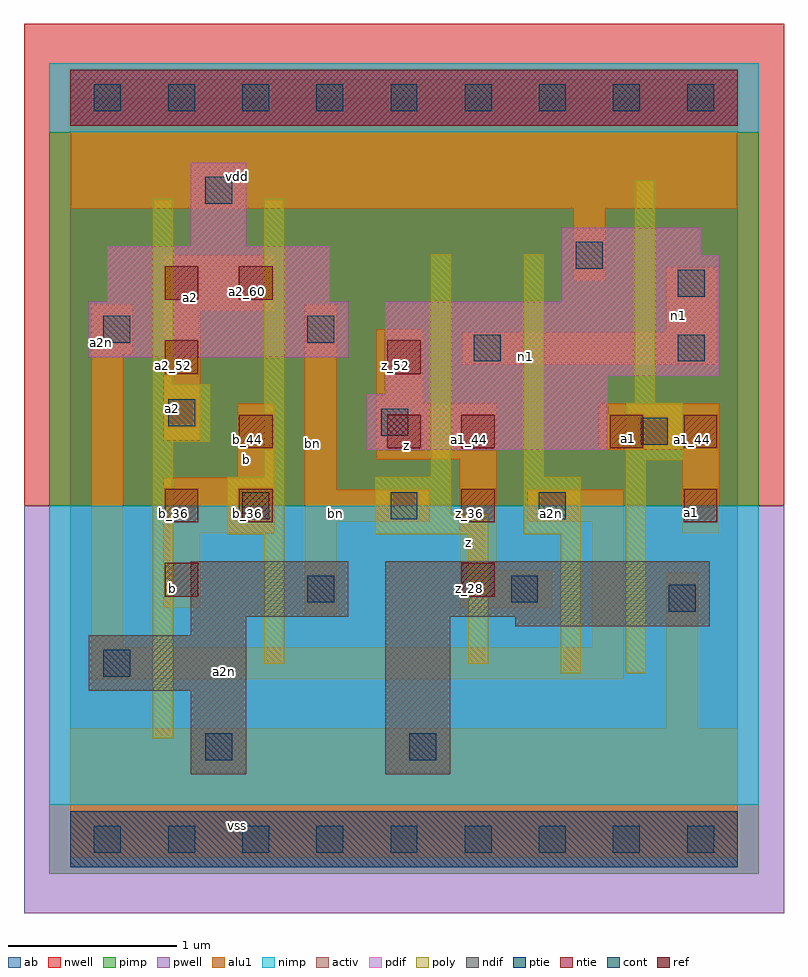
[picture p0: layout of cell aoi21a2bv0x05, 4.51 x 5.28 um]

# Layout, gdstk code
import gdstk
lib = gdstk.Library(unit=1e-6, precision=2.5e-09)
def R(c, l, rs):  # rectangles x0, y0, x1, y1
    for r in rs: c.add(gdstk.rectangle(r[:2], r[2:], *l))
def A(c, l, x, y, w, h, nx, ny, dx, dy):  # array of equal rectangles
    R(c, l, [(x+i*dx, y+j*dy, x+i*dx+w, y+j*dy+h) for i in range(nx) for j in range(ny)])
ndif = (3, 0)
pdif = (4, 0)
ntie = (5, 0)
ptie = (6, 0)
ref = (24, 0)
cont = (25, 0)
pwell = (41, 0)
nwell = (42, 0)
activ = (43, 0)
pimp = (44, 0)
nimp = (45, 0)
poly = (46, 0)
alu1 = (49, 0)
ab = (63, 0)

aoi21a2bv0x05 = lib.new_cell('aoi21a2bv0x05')
R(aoi21a2bv0x05, ndif, [(0.715,0.385,1.045,0.88), (1.87,0.385,2.255,1.32), (0.11,0.88,1.045,1.21), (0.715,1.21,1.045,1.32), (2.64,1.265,3.795,1.32), (0.715,1.32,1.65,1.65), (1.87,1.32,3.795,1.65)])
R(aoi21a2bv0x05, pdif, [(1.76,2.31,3.19,2.64), (1.87,2.64,3.19,2.75), (1.87,2.75,3.85,3.19), (0.11,2.86,1.65,3.19), (0.22,3.19,1.54,3.52), (2.915,3.19,3.85,3.465), (2.915,3.465,3.74,3.63), (0.715,3.52,1.045,4.015)])
R(aoi21a2bv0x05, ntie, [(0,4.235,3.96,4.565)])
R(aoi21a2bv0x05, ptie, [(0,-0.165,3.96,0.165)])
A(aoi21a2bv0x05, ref, 1, 1.88, 0.2, 0.2, 3, 1, 1.32, 0)
R(aoi21a2bv0x05, ref, [(0.56,1.44,0.76,1.64), (2.32,1.44,2.52,1.64), (0.56,1.88,0.76,2.08), (1,2.32,1.2,2.52), (1.88,2.32,2.08,2.52), (2.32,2.32,2.52,2.52), (3.2,2.32,3.4,2.52), (3.64,2.32,3.84,2.52), (0.56,2.76,0.76,2.96), (1.88,2.76,2.08,2.96), (0.56,3.2,0.76,3.4), (1,3.2,1.2,3.4)])
A(aoi21a2bv0x05, cont, 0.14, -0.08, 0.16, 0.16, 9, 2, 0.44, 4.4)
A(aoi21a2bv0x05, cont, 1.02, 1.9, 0.16, 0.16, 3, 1, 0.88, 0)
R(aoi21a2bv0x05, cont, [(0.8,0.47,0.96,0.63), (2.01,0.47,2.17,0.63), (0.195,0.965,0.355,1.125), (3.55,1.35,3.71,1.51), (1.405,1.405,1.565,1.565), (2.615,1.405,2.775,1.565), (3.385,2.34,3.545,2.5), (1.845,2.395,2.005,2.555), (0.58,2.45,0.74,2.61), (2.395,2.835,2.555,2.995), (3.605,2.835,3.765,2.995), (0.195,2.945,0.355,3.105), (1.405,2.945,1.565,3.105), (3.605,3.22,3.765,3.38), (3,3.385,3.16,3.545), (0.8,3.77,0.96,3.93)])
R(aoi21a2bv0x05, pwell, [(-0.275,-0.44,4.235,1.98)])
R(aoi21a2bv0x05, nwell, [(-0.275,1.98,4.235,4.84)])
R(aoi21a2bv0x05, activ, [(0,-0.165,3.96,0.165), (0.715,0.385,1.045,0.88), (1.87,0.385,2.255,1.32), (0.11,0.88,1.045,1.21), (0.715,1.21,1.045,1.32), (2.64,1.265,3.795,1.32), (0.715,1.32,1.65,1.65), (1.87,1.32,3.795,1.65), (1.76,2.31,3.19,2.64), (1.87,2.64,3.19,2.75), (1.87,2.75,3.85,3.19), (0.11,2.86,1.65,3.19), (0.22,3.19,1.54,3.52), (2.915,3.19,3.85,3.465), (2.915,3.465,3.74,3.63), (0.715,3.52,1.045,4.015), (0,4.235,3.96,4.565)])
R(aoi21a2bv0x05, pimp, [(-0.125,-0.205,4.085,0.205), (-0.125,1.98,4.085,4.195)])
R(aoi21a2bv0x05, nimp, [(-0.125,0.205,4.085,1.98), (-0.125,4.195,4.085,4.605)])
R(aoi21a2bv0x05, poly, [(0.49,0.6,0.61,2.36), (2.91,0.985,3.03,1.81), (3.295,0.985,3.415,2.25), (1.15,1.04,1.27,1.81), (2.36,1.04,2.48,1.81), (0.93,1.81,1.27,2.15), (1.81,1.81,2.48,1.93), (2.69,1.81,3.03,2.15), (1.81,1.93,2.26,2.15), (1.15,2.15,1.27,3.8), (2.14,2.15,2.26,3.47), (2.69,2.15,2.81,3.47), (3.295,2.25,3.635,2.59), (0.49,2.36,0.83,2.7), (3.35,2.59,3.47,3.91), (0.49,2.7,0.61,3.8)])
R(aoi21a2bv0x05, alu1, [(0,-0.11,3.96,0.66), (3.535,0.66,3.725,1.58), (0.125,0.95,3.285,1.14), (0.125,1.14,0.315,2.875), (3.095,1.14,3.285,1.885), (1.39,1.335,1.58,1.885), (0.55,1.375,0.77,1.815), (2.31,1.375,2.86,1.595), (2.31,1.595,2.53,2.255), (0.55,1.815,1.21,2.145), (3.63,1.815,3.85,2.31), (1.39,1.885,2.13,2.075), (2.71,1.885,3.285,2.075), (1.39,2.075,1.58,3.175), (0.99,2.145,1.21,2.585), (1.815,2.255,2.53,2.585), (3.135,2.31,3.85,2.585), (0.55,2.365,0.77,3.135), (1.815,2.585,2.09,3.025), (2.325,2.82,3.835,3.01), (0.125,2.875,0.37,3.175), (3.535,3.01,3.835,3.395), (0.55,3.135,1.21,3.465), (2.985,3.315,3.175,3.74), (0,3.74,3.96,4.51)])
R(aoi21a2bv0x05, ab, [(0,0,3.96,4.4)])
aoi21a2bv0x05.add(gdstk.Label('vss', (0.99,0.0825), layer=49, texttype=0))
aoi21a2bv0x05.add(gdstk.Label('a2n', (0.915,0.9975), layer=49, texttype=0))
aoi21a2bv0x05.add(gdstk.Label('a1', (3.685,1.9375), layer=49, texttype=0))
aoi21a2bv0x05.add(gdstk.Label('a2n', (2.8525,1.9325), layer=49, texttype=0))
aoi21a2bv0x05.add(gdstk.Label('z', (2.365,1.76), layer=49, texttype=0))
aoi21a2bv0x05.add(gdstk.Label('b', (0.605,1.485), layer=49, texttype=0))
aoi21a2bv0x05.add(gdstk.Label('bn', (1.575,1.9325), layer=49, texttype=0))
aoi21a2bv0x05.add(gdstk.Label('a1', (3.3125,2.3775), layer=49, texttype=0))
aoi21a2bv0x05.add(gdstk.Label('z', (1.9925,2.3375), layer=49, texttype=0))
aoi21a2bv0x05.add(gdstk.Label('n1', (2.7025,2.8675), layer=49, texttype=0))
aoi21a2bv0x05.add(gdstk.Label('n1', (3.61,3.105), layer=49, texttype=0))
aoi21a2bv0x05.add(gdstk.Label('bn', (1.4375,2.35), layer=49, texttype=0))
aoi21a2bv0x05.add(gdstk.Label('b', (1.045,2.255), layer=49, texttype=0))
aoi21a2bv0x05.add(gdstk.Label('a2', (0.605,2.5575), layer=49, texttype=0))
aoi21a2bv0x05.add(gdstk.Label('a2', (0.715,3.2175), layer=49, texttype=0))
aoi21a2bv0x05.add(gdstk.Label('a2n', (0.185,2.95), layer=49, texttype=0))
aoi21a2bv0x05.add(gdstk.Label('vdd', (0.99,3.9325), layer=49, texttype=0))
aoi21a2bv0x05.add(gdstk.Label('z_52', (1.93,2.81), layer=24, texttype=0))
aoi21a2bv0x05.add(gdstk.Label('b_36', (0.61,1.93), layer=24, texttype=0))
aoi21a2bv0x05.add(gdstk.Label('b_28', (0.61,1.49), layer=24, texttype=0))
aoi21a2bv0x05.add(gdstk.Label('a1_44', (3.25,2.37), layer=24, texttype=0))
aoi21a2bv0x05.add(gdstk.Label('a1_44', (3.69,2.37), layer=24, texttype=0))
aoi21a2bv0x05.add(gdstk.Label('a1_36', (3.69,1.93), layer=24, texttype=0))
aoi21a2bv0x05.add(gdstk.Label('a2_60', (1.05,3.25), layer=24, texttype=0))
aoi21a2bv0x05.add(gdstk.Label('a2_60', (0.61,3.25), layer=24, texttype=0))
aoi21a2bv0x05.add(gdstk.Label('a2_52', (0.61,2.81), layer=24, texttype=0))
aoi21a2bv0x05.add(gdstk.Label('b_36', (1.05,1.93), layer=24, texttype=0))
aoi21a2bv0x05.add(gdstk.Label('b_44', (1.05,2.37), layer=24, texttype=0))
aoi21a2bv0x05.add(gdstk.Label('z_28', (2.37,1.49), layer=24, texttype=0))
aoi21a2bv0x05.add(gdstk.Label('z_36', (2.37,1.93), layer=24, texttype=0))
aoi21a2bv0x05.add(gdstk.Label('z_44', (1.93,2.37), layer=24, texttype=0))
aoi21a2bv0x05.add(gdstk.Label('a1_44', (2.37,2.37), layer=24, texttype=0))

lib.write_gds('aoi21a2bv0x05.gds')
